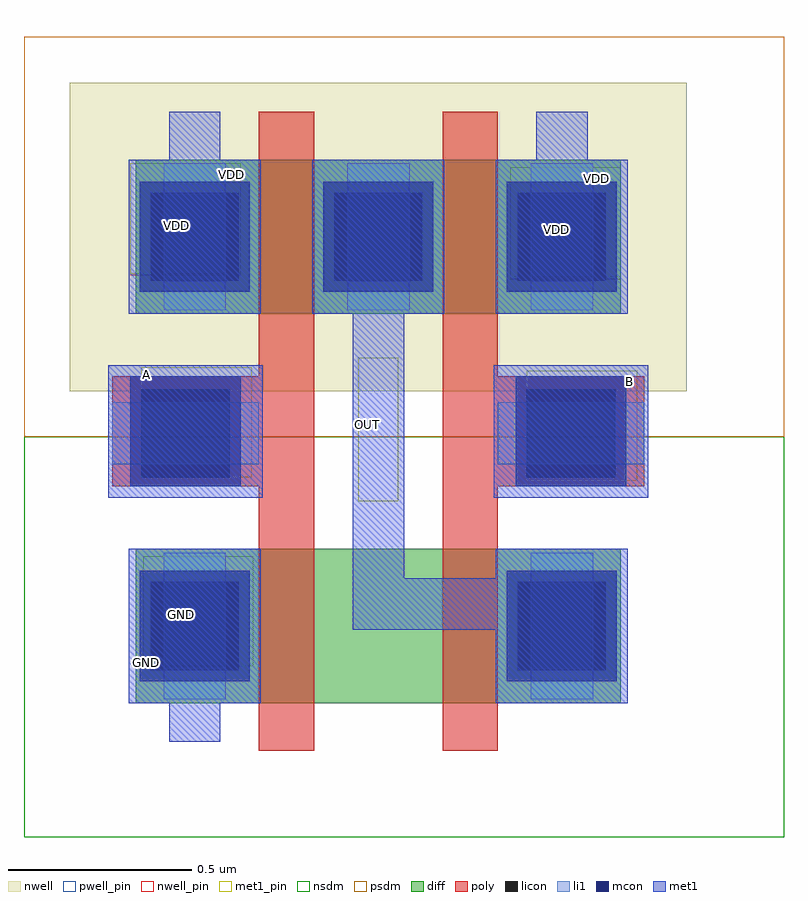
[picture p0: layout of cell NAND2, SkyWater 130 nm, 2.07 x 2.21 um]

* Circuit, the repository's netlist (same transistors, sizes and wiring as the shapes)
.SUBCKT NAND2 A B OUT VDD GND

* NMOS (series)
XND1 OUT B N1 GND sky130_fd_pr__nfet_01v8 L=0.15 W=0.42
XND2 N1 A GND GND sky130_fd_pr__nfet_01v8 L=0.15 W=0.42

* PMOS (parallel)
XPU1 OUT A VDD VDD sky130_fd_pr__pfet_01v8 L=0.15 W=0.42
XPU2 OUT B VDD VDD sky130_fd_pr__pfet_01v8 L=0.15 W=0.42

.ENDS NAND2"

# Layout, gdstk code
import gdstk
lib = gdstk.Library(unit=1e-6, precision=5e-09)
def R(c, l, rs):  # rectangles x0, y0, x1, y1
    for r in rs: c.add(gdstk.rectangle(r[:2], r[2:], *l))
def A(c, l, x, y, w, h, nx, ny, dx, dy):  # array of equal rectangles
    R(c, l, [(x+i*dx, y+j*dy, x+i*dx+w, y+j*dy+h) for i in range(nx) for j in range(ny)])
def P(c, l, *ps):  # polygons
    for p in ps: c.add(gdstk.Polygon(p, *l))
nwell_pin = (64, 16)
nwell = (64, 20)
diff = (65, 20)
poly = (66, 20)
licon = (66, 44)
li1 = (67, 20)
mcon = (67, 44)
met1_pin = (68, 16)
met1 = (68, 20)
nsdm = (93, 44)
psdm = (94, 20)
pwell_pin = (122, 16)

nand2 = lib.new_cell('NAND2')
R(nand2, nwell_pin, [(2.4,-0.025,2.7,0.28), (1.365,-0.015,1.665,0.29)])
R(nand2, nwell, [(1.2,-0.33,2.88,0.51)])
R(nand2, diff, [(1.38,-1.18,2.7,-0.76), (1.38,-0.12,2.7,0.3)])
R(nand2, poly, [(1.715,-1.31,1.865,0.43), (2.215,-1.31,2.365,0.43), (1.315,-0.59,1.715,-0.29), (2.365,-0.59,2.765,-0.29)])
A(nand2, licon, 1.42, -0.03, 0.24, 0.24, 3, 1, 0.5, 0)
R(nand2, licon, [(1.42,-1.09,1.66,-0.85), (2.42,-1.09,2.66,-0.85), (1.395,-0.565,1.635,-0.325), (2.445,-0.565,2.685,-0.325)])
A(nand2, li1, 1.455, -0.11, 0.17, 0.4, 3, 1, 0.5, 0)
R(nand2, li1, [(1.455,-1.17,1.625,-0.77), (2.455,-1.17,2.625,-0.77), (1.315,-0.53,1.715,-0.36), (2.365,-0.53,2.765,-0.36)])
A(nand2, mcon, 1.39, -0.06, 0.3, 0.3, 3, 1, 0.5, 0)
R(nand2, mcon, [(1.39,-1.12,1.69,-0.82), (2.39,-1.12,2.69,-0.82), (1.365,-0.59,1.665,-0.29), (2.415,-0.59,2.715,-0.29)])
R(nand2, met1_pin, [(1.4,-1.08,1.7,-0.78), (1.985,-0.63,2.095,-0.24), (2.445,-0.575,2.745,-0.275), (1.395,-0.565,1.695,-0.265), (2.4,-0.02,2.7,0.28), (1.365,-0.01,1.665,0.29)])
P(nand2, met1_pin, [(2.075,0.67),(2.075,0.67),(2.075,0.67),(2.075,0.67)])
A(nand2, met1, 1.36, -0.12, 0.36, 0.42, 3, 1, 0.5, 0)
R(nand2, met1, [(1.47,-1.285,1.61,-0.975), (1.36,-1.18,1.72,-0.76), (2.36,-1.18,2.72,-0.76), (1.97,-0.98,2.11,0.14), (2.11,-0.98,2.455,-0.84), (1.305,-0.62,1.725,-0.26), (2.355,-0.62,2.775,-0.26), (1.47,0.085,1.61,0.43), (2.47,0.085,2.61,0.43)])
R(nand2, nsdm, [(1.075,-1.545,3.145,-0.455)])
R(nand2, psdm, [(1.075,-0.455,3.145,0.635)])
R(nand2, pwell_pin, [(1.4,-1.08,1.7,-0.78)])
nand2.add(gdstk.Label('B', (2.725,-0.305), layer=68, texttype=16))
nand2.add(gdstk.Label('A', (1.41,-0.285), layer=68, texttype=16))
nand2.add(gdstk.Label('VDD', (1.64,0.26), layer=68, texttype=16))
nand2.add(gdstk.Label('VDD', (2.635,0.25), layer=68, texttype=16))
nand2.add(gdstk.Label('OUT', (2.01,-0.42), layer=68, texttype=16))
nand2.add(gdstk.Label('GND', (1.41,-1.07), layer=68, texttype=16))
nand2.add(gdstk.Label('GND', (1.505,-0.94), layer=64, texttype=59))
nand2.add(gdstk.Label('VDD', (2.525,0.11), layer=64, texttype=5))
nand2.add(gdstk.Label('VDD', (1.49,0.12), layer=64, texttype=5))

lib.write_gds('NAND2.gds')
